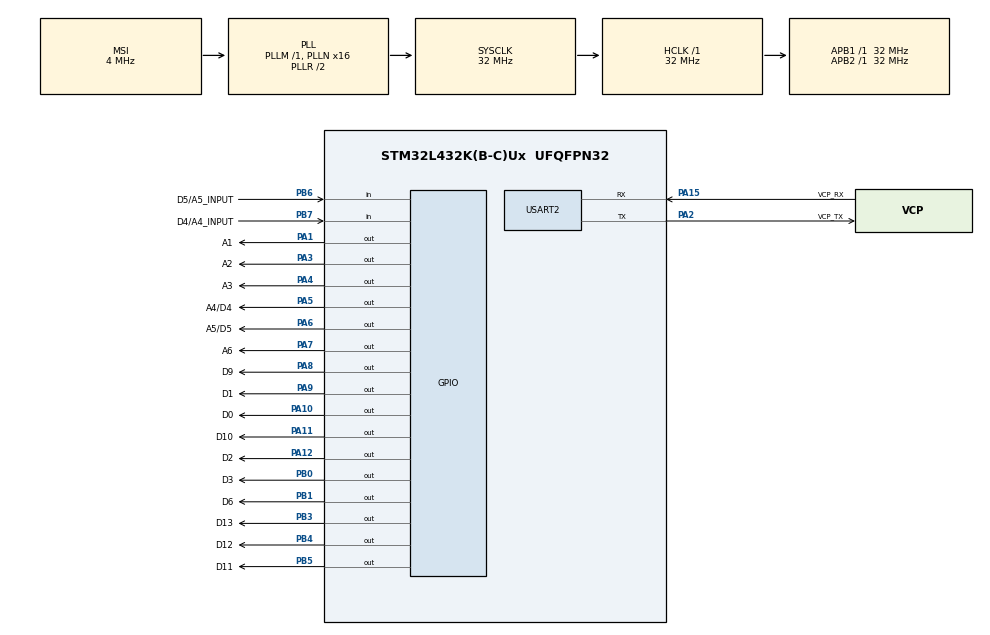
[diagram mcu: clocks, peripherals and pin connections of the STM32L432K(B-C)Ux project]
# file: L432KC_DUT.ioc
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Mcu.Family=STM32L4
Mcu.Name=STM32L432K(B-C)Ux
Mcu.Package=UFQFPN32
NVIC.PriorityGroup=NVIC_PRIORITYGROUP_4
PA0.GPIO_Label=MCO [High speed clock in]
PA0.Mode=HSE-External-Clock-Source-for-LittleOrca
PA0.Signal=RCC_CK_IN
PA1.GPIO_Label=A1
PA1.Signal=GPIO_Output
PA10.GPIO_Label=D0
PA10.Signal=GPIO_Output
PA11.GPIO_Label=D10
PA11.Signal=GPIO_Output
PA12.GPIO_Label=D2
PA12.Signal=GPIO_Output
PA13\ (JTMS-SWDIO).GPIO_Label=SWDIO
PA13\ (JTMS-SWDIO).Mode=Serial_Wire
PA13\ (JTMS-SWDIO).Signal=SYS_JTMS-SWDIO
PA14\ (JTCK-SWCLK).GPIO_Label=SWCLK
PA14\ (JTCK-SWCLK).Mode=Serial_Wire
PA14\ (JTCK-SWCLK).Signal=SYS_JTCK-SWCLK
PA15\ (JTDI).GPIO_Label=VCP_RX
PA15\ (JTDI).Mode=Asynchronous
PA15\ (JTDI).Signal=USART2_RX
PA2.GPIO_Label=VCP_TX
PA2.Mode=Asynchronous
PA2.Signal=USART2_TX
PA3.GPIO_Label=A2
PA3.Signal=GPIO_Output
PA4.GPIO_Label=A3
PA4.Signal=GPIO_Output
PA5.GPIO_Label=A4/D4
PA5.Signal=GPIO_Output
PA6.GPIO_Label=A5/D5
PA6.Signal=GPIO_Output
PA7.GPIO_Label=A6
PA7.Signal=GPIO_Output
PA8.GPIO_Label=D9
PA8.Signal=GPIO_Output
PA9.GPIO_Label=D1
PA9.Signal=GPIO_Output
PB0.GPIO_Label=D3
PB0.Signal=GPIO_Output
PB1.GPIO_Label=D6
PB1.Signal=GPIO_Output
PB3\ (JTDO-TRACESWO).GPIO_Label=D13
PB3\ (JTDO-TRACESWO).Signal=GPIO_Output
PB4\ (NJTRST).GPIO_Label=D12
PB4\ (NJTRST).Signal=GPIO_Output
PB5.GPIO_Label=D11
PB5.Signal=GPIO_Output
PB6.GPIO_Label=D5/A5_INPUT
PB6.Signal=GPIO_Input
PB7.GPIO_Label=D4/A4_INPUT
PB7.Signal=GPIO_Input
PC14-OSC32_IN\ (PC14).Mode=LSE-External-Oscillator
PC14-OSC32_IN\ (PC14).Signal=RCC_OSC32_IN
PC15-OSC32_OUT\ (PC15).Mode=LSE-External-Oscillator
PC15-OSC32_OUT\ (PC15).Signal=RCC_OSC32_OUT
ProjectManager.HeapSize=0x200
ProjectManager.StackSize=0x400
ProjectManager.TargetToolchain=STM32CubeIDE
RCC.AHBFreq_Value=32000000
RCC.APB1Freq_Value=32000000
RCC.APB1TimFreq_Value=32000000
RCC.APB2Freq_Value=32000000
RCC.APB2TimFreq_Value=32000000
RCC.CortexFreq_Value=32000000
RCC.HCLKFreq_Value=32000000
RCC.HSE_VALUE=8000000
RCC.HSI16_VALUE=16000000
RCC.HSI48_VALUE=48000000
RCC.HSI_VALUE=16000000
RCC.MSI_VALUE=4000000
RCC.PLLMUL=RCC_PLLMUL_4
RCC.PLLN=16
RCC.SYSCLKFreq_VALUE=32000000
RCC.SYSCLKSource=RCC_SYSCLKSOURCE_PLLCLK
RCC.VCOOutputFreq_Value=64000000
USART2.VirtualMode-Asynchronous=VM_ASYNC
board=NUCLEO-L432KC

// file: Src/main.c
/* USER CODE BEGIN Header */
/**
  ******************************************************************************
  * @file           : main.c
  * @brief          : Main program body
  ******************************************************************************
  * @attention
  *
  * Copyright (c) 2023 STMicroelectronics.
  * All rights reserved.
  *
  * This software is licensed under terms that can be found in the LICENSE file
  * in the root directory of this software component.
  * If no LICENSE file comes with this software, it is provided AS-IS.
  *
  ******************************************************************************
  */
/* USER CODE END Header */
#include "main.h"

UART_HandleTypeDef huart2;

void SystemClock_Config(void);
static void MX_GPIO_Init(void);
static void MX_USART2_UART_Init(void);

int main(void)
{
  /* USER CODE BEGIN 1 */

	#define NUM_NODES 16

	GPIO_TypeDef *portList[NUM_NODES] = {

			D0_GPIO_Port,
			D1_GPIO_Port,
			D2_GPIO_Port,
			D3_GPIO_Port,
			D6_GPIO_Port,
			D9_GPIO_Port,
			D10_GPIO_Port,
			D11_GPIO_Port,
			D12_GPIO_Port,
			D13_GPIO_Port,

			A1_GPIO_Port,
			A2_GPIO_Port,
			A3_GPIO_Port,
			A4_D4_GPIO_Port,
			A5_D5_GPIO_Port,
			A6_GPIO_Port
	};

	uint16_t pinList[NUM_NODES] = {

			D0_Pin,
			D1_Pin,
			D2_Pin,
			D3_Pin,
			D6_Pin,
			D9_Pin,
			D10_Pin,
			D11_Pin,
			D12_Pin,
			D13_Pin,

			A1_Pin,
			A2_Pin,
			A3_Pin,
			A4_D4_Pin,
			A5_D5_Pin,
			A6_Pin
	};

  /* USER CODE END 1 */

  /* MCU Configuration--------------------------------------------------------*/

  /* Reset of all peripherals, Initializes the Flash interface and the Systick. */
  HAL_Init();

  /* Configure the system clock */
  SystemClock_Config();

  /* Initialize all configured peripherals */
  MX_GPIO_Init();
  MX_USART2_UART_Init();

  /* Infinite loop */
  /* USER CODE BEGIN WHILE */
  while (1)
  {

	  // set all IO low
	  for(uint8_t i = 0; i < NUM_NODES; i++){
		  HAL_GPIO_WritePin(portList[i], pinList[i], RESET);
	  }

	  // halt system in error handler
	  Error_Handler();

    /* USER CODE END WHILE */

  }
}

void SystemClock_Config(void)
{
  RCC_OscInitTypeDef RCC_OscInitStruct = {0};
  RCC_ClkInitTypeDef RCC_ClkInitStruct = {0};

  /** Configure the main internal regulator output voltage
  */
  if (HAL_PWREx_ControlVoltageScaling(PWR_REGULATOR_VOLTAGE_SCALE1) != HAL_OK)
  {
    Error_Handler();
  }

  /** Configure LSE Drive Capability
  */
  HAL_PWR_EnableBkUpAccess();
  __HAL_RCC_LSEDRIVE_CONFIG(RCC_LSEDRIVE_LOW);

  /** Initializes the RCC Oscillators according to the specified parameters
  * in the RCC_OscInitTypeDef structure.
  */
  RCC_OscInitStruct.OscillatorType = RCC_OSCILLATORTYPE_LSE|RCC_OSCILLATORTYPE_MSI;
  RCC_OscInitStruct.LSEState = RCC_LSE_ON;
  RCC_OscInitStruct.MSIState = RCC_MSI_ON;
  RCC_OscInitStruct.MSICalibrationValue = 0;
  RCC_OscInitStruct.MSIClockRange = RCC_MSIRANGE_6;
  RCC_OscInitStruct.PLL.PLLState = RCC_PLL_ON;
  RCC_OscInitStruct.PLL.PLLSource = RCC_PLLSOURCE_MSI;
  RCC_OscInitStruct.PLL.PLLM = 1;
  RCC_OscInitStruct.PLL.PLLN = 16;
  RCC_OscInitStruct.PLL.PLLP = RCC_PLLP_DIV7;
  RCC_OscInitStruct.PLL.PLLQ = RCC_PLLQ_DIV2;
  RCC_OscInitStruct.PLL.PLLR = RCC_PLLR_DIV2;
  if (HAL_RCC_OscConfig(&RCC_OscInitStruct) != HAL_OK)
  {
    Error_Handler();
  }

  /** Initializes the CPU, AHB and APB buses clocks
  */
  RCC_ClkInitStruct.ClockType = RCC_CLOCKTYPE_HCLK|RCC_CLOCKTYPE_SYSCLK
                              |RCC_CLOCKTYPE_PCLK1|RCC_CLOCKTYPE_PCLK2;
  RCC_ClkInitStruct.SYSCLKSource = RCC_SYSCLKSOURCE_PLLCLK;
  RCC_ClkInitStruct.AHBCLKDivider = RCC_SYSCLK_DIV1;
  RCC_ClkInitStruct.APB1CLKDivider = RCC_HCLK_DIV1;
  RCC_ClkInitStruct.APB2CLKDivider = RCC_HCLK_DIV1;

  if (HAL_RCC_ClockConfig(&RCC_ClkInitStruct, FLASH_LATENCY_1) != HAL_OK)
  {
    Error_Handler();
  }

  /** Enable MSI Auto calibration
  */
  HAL_RCCEx_EnableMSIPLLMode();
}

static void MX_USART2_UART_Init(void)
{

  huart2.Instance = USART2;
  huart2.Init.BaudRate = 115200;
  huart2.Init.WordLength = UART_WORDLENGTH_8B;
  huart2.Init.StopBits = UART_STOPBITS_1;
  huart2.Init.Parity = UART_PARITY_NONE;
  huart2.Init.Mode = UART_MODE_TX_RX;
  huart2.Init.HwFlowCtl = UART_HWCONTROL_NONE;
  huart2.Init.OverSampling = UART_OVERSAMPLING_16;
  huart2.Init.OneBitSampling = UART_ONE_BIT_SAMPLE_DISABLE;
  huart2.AdvancedInit.AdvFeatureInit = UART_ADVFEATURE_NO_INIT;
  if (HAL_UART_Init(&huart2) != HAL_OK)
  {
    Error_Handler();
  }

}

static void MX_GPIO_Init(void)
{
  GPIO_InitTypeDef GPIO_InitStruct = {0};

  /* GPIO Ports Clock Enable */
  __HAL_RCC_GPIOC_CLK_ENABLE();
  __HAL_RCC_GPIOA_CLK_ENABLE();
  __HAL_RCC_GPIOB_CLK_ENABLE();

  /*Configure GPIO pin Output Level */
  HAL_GPIO_WritePin(GPIOA, A1_Pin|A2_Pin|A3_Pin|A4_D4_Pin
                          |A5_D5_Pin|A6_Pin|D9_Pin|D1_Pin
                          |D0_Pin|D10_Pin|D2_Pin, GPIO_PIN_RESET);

  /*Configure GPIO pin Output Level */
  HAL_GPIO_WritePin(GPIOB, D3_Pin|D6_Pin|D13_Pin|D12_Pin
                          |D11_Pin, GPIO_PIN_RESET);

  /*Configure GPIO pins : A1_Pin A2_Pin A3_Pin A4_D4_Pin
                           A5_D5_Pin A6_Pin D9_Pin D1_Pin
                           D0_Pin D10_Pin D2_Pin */
  GPIO_InitStruct.Pin = A1_Pin|A2_Pin|A3_Pin|A4_D4_Pin
                          |A5_D5_Pin|A6_Pin|D9_Pin|D1_Pin
                          |D0_Pin|D10_Pin|D2_Pin;
  GPIO_InitStruct.Mode = GPIO_MODE_OUTPUT_PP;
  GPIO_InitStruct.Pull = GPIO_NOPULL;
  GPIO_InitStruct.Speed = GPIO_SPEED_FREQ_LOW;
  HAL_GPIO_Init(GPIOA, &GPIO_InitStruct);

  /*Configure GPIO pins : D3_Pin D6_Pin D13_Pin D12_Pin
                           D11_Pin */
  GPIO_InitStruct.Pin = D3_Pin|D6_Pin|D13_Pin|D12_Pin
                          |D11_Pin;
  GPIO_InitStruct.Mode = GPIO_MODE_OUTPUT_PP;
  GPIO_InitStruct.Pull = GPIO_NOPULL;
  GPIO_InitStruct.Speed = GPIO_SPEED_FREQ_LOW;
  HAL_GPIO_Init(GPIOB, &GPIO_InitStruct);

  /*Configure GPIO pins : D5_A5_INPUT_Pin D4_A4_INPUT_Pin */
  GPIO_InitStruct.Pin = D5_A5_INPUT_Pin|D4_A4_INPUT_Pin;
  GPIO_InitStruct.Mode = GPIO_MODE_INPUT;
  GPIO_InitStruct.Pull = GPIO_NOPULL;
  HAL_GPIO_Init(GPIOB, &GPIO_InitStruct);

}

void Error_Handler(void)
{
  __disable_irq();
  while (1)
  {
  }
}
